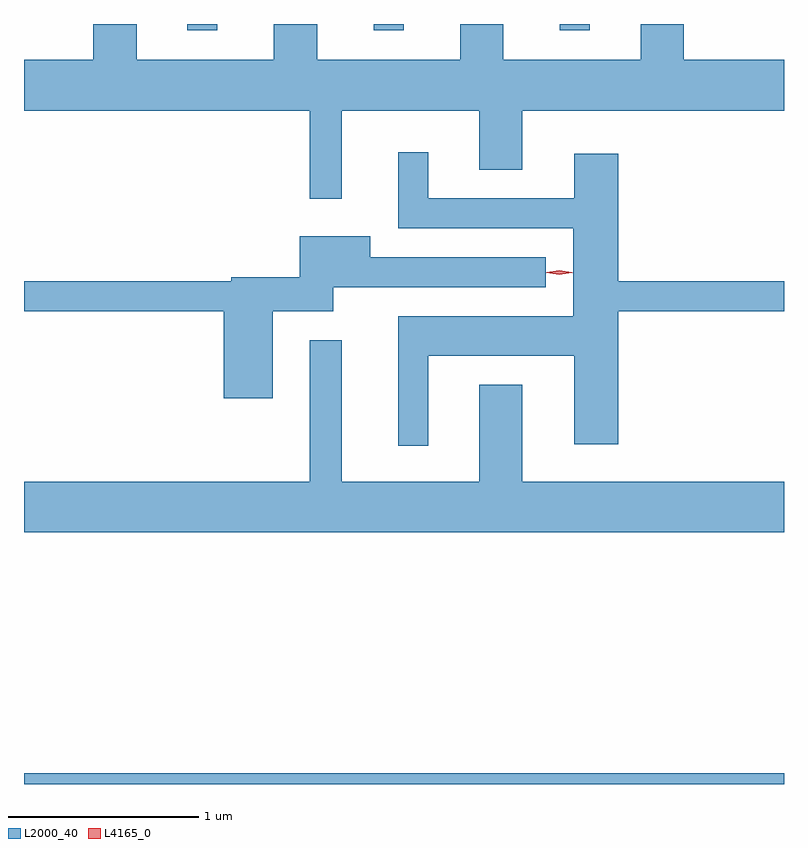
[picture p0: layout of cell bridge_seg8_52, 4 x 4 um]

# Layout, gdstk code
import gdstk
lib = gdstk.Library(unit=1e-6, precision=1e-09)
def R(c, l, rs):  # rectangles x0, y0, x1, y1
    for r in rs: c.add(gdstk.rectangle(r[:2], r[2:], *l))
def A(c, l, x, y, w, h, nx, ny, dx, dy):  # array of equal rectangles
    R(c, l, [(x+i*dx, y+j*dy, x+i*dx+w, y+j*dy+h) for i in range(nx) for j in range(ny)])
def P(c, l, *ps):  # polygons
    for p in ps: c.add(gdstk.Polygon(p, *l))
L2000_40 = (2000, 40)
L4165_0 = (4165, 0)

bridge_seg8_52 = lib.new_cell('bridge_seg8_52')
A(bridge_seg8_52, L2000_40, 1548.926, 1907.878, 0.158, 0.034, 3, 1, 0.98, 0)
R(bridge_seg8_52, L2000_40, [(1548.066,1903.912,1552.066,1903.969)])
P(bridge_seg8_52, L2000_40, [(1549.739,1907.456),(1550.461,1907.456),(1550.461,1907.146),(1550.689,1907.146),(1550.689,1907.456),(1552.066,1907.456),(1552.066,1907.724),(1551.539,1907.724),(1551.539,1907.912),(1551.311,1907.912),(1551.311,1907.724),(1550.589,1907.724),(1550.589,1907.912),(1550.361,1907.912),(1550.361,1907.724),(1549.609,1907.724),(1549.609,1907.912),(1549.381,1907.912),(1549.381,1907.724),(1548.659,1907.724),(1548.659,1907.912),(1548.431,1907.912),(1548.431,1907.724),(1548.066,1907.724),(1548.066,1907.456),(1549.571,1907.456),(1549.571,1906.993),(1549.739,1906.993)],
  [(1550.194,1906.166),(1550.961,1906.166),(1550.961,1905.701),(1551.194,1905.701),(1551.194,1906.401),(1552.066,1906.401),(1552.066,1906.559),(1551.194,1906.559),(1551.194,1907.229),(1550.961,1907.229),(1550.961,1906.994),(1550.194,1906.994),(1550.194,1907.238),(1550.036,1907.238),(1550.036,1906.836),(1550.956,1906.836),(1550.956,1906.374),(1550.036,1906.374),(1550.036,1905.693),(1550.194,1905.693)],
  [(1549.374,1906.401),(1549.694,1906.401),(1549.694,1906.526),(1550.813,1906.526),(1550.813,1906.684),(1549.889,1906.684),(1549.889,1906.794),(1549.516,1906.794),(1549.516,1906.579),(1549.156,1906.579),(1549.156,1906.559),(1548.066,1906.559),(1548.066,1906.401),(1549.116,1906.401),(1549.116,1905.941),(1549.374,1905.941)],
  [(1552.066,1905.504),(1550.689,1905.504),(1550.689,1906.014),(1550.461,1906.014),(1550.461,1905.504),(1549.739,1905.504),(1549.739,1906.248),(1549.571,1906.248),(1549.571,1905.504),(1548.066,1905.504),(1548.066,1905.236),(1552.066,1905.236)])
P(bridge_seg8_52, L4165_0, [(1550.883,1906.595),(1550.818,1906.604),(1550.817,1906.605),(1550.818,1906.606),(1550.883,1906.615),(1550.948,1906.606),(1550.948,1906.605),(1550.948,1906.604)],
  [(1550.883,1906.593),(1550.814,1906.603),(1550.814,1906.603),(1550.814,1906.604),(1550.883,1906.613),(1550.952,1906.604),(1550.953,1906.603),(1550.952,1906.603)])

lib.write_gds('bridge_seg8_52.gds')
